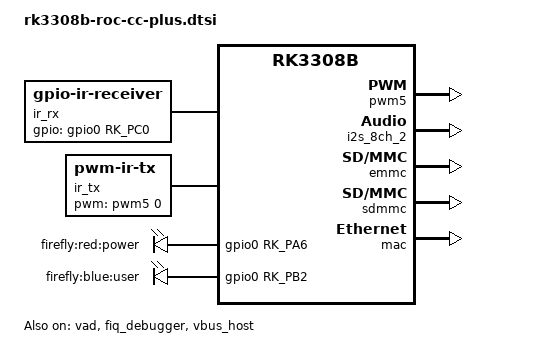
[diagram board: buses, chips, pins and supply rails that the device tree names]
// SPDX-License-Identifier: (GPL-2.0+ OR MIT)
/*
 * Copyright (c) 2018 Fuzhou Rockchip Electronics Co., Ltd
 */

#include "rk3308b-firefly.dtsi"

/ {
	pdm_i2s_dais: pdm-i2s-dais {
		status = "disabled";
		compatible = "rockchip,rk3308-multi-dais", "rockchip,multi-dais";
		dais = <&pdm_8ch>, <&i2s_8ch_2>;
		capture,channel-mapping = <6 2>;
		playback,channel-mapping = <0 2>;
		bitclock-inversion = <1 0>;
	};

	pdm-mic-array {
		status = "disabled";
		compatible = "simple-audio-card";
		simple-audio-card,name = "rockchip,pdm-mic-array";
		simple-audio-card,cpu {
			sound-dai = <&pdm_8ch>;
		};
		simple-audio-card,codec {
			sound-dai = <&dummy_codec>;
		};
	};

	vad-sound {
		status = "disabled";
		compatible = "rockchip,multicodecs-card";
		rockchip,card-name = "rockchip,rk3308-vad";
		rockchip,cpu = <&pdm_i2s_dais>;
		rockchip,codec = <&acodec>, <&vad>;
	};

    vad_acodec_sound: vad-acodec-sound {
        status = "okay";
        compatible = "rockchip,multicodecs-card";
        rockchip,card-name = "rockchip,rk3308b-acodec";
        rockchip,codec-hp-det;
        rockchip,mclk-fs = <256>;
        rockchip,cpu = <&i2s_8ch_2>;
        rockchip,codec = <&acodec>, <&vad>;
    };

	ir_rx {
        status = "okay";
        compatible = "gpio-ir-receiver";
        gpios = <&gpio0 RK_PC0 GPIO_ACTIVE_HIGH>;
        pinctrl-names = "default";
		pinctrl-0 = <&ir_recv_pin>;
    };

    ir_tx {
        status = "okay";
        compatible = "pwm-ir-tx";
        pwms = <&pwm5 0 25000 0>;
    };

    leds {
        status = "okay";
        compatible = "gpio-leds";
        power {
            label = "firefly:red:power"; 
            linux,default-trigger = "ir-power-click";
            default-state = "on";
            gpios = <&gpio0 RK_PA6 GPIO_ACTIVE_HIGH>;
        };

        user {
            label = "firefly:blue:user";
            linux,default-trigger = "ir-user-click";
            default-state = "off";
            gpios = <&gpio0 RK_PB2 GPIO_ACTIVE_HIGH>;
        };
    };

};

&acodec_sound {
    status = "disabled";
};

&acodec {
    rockchip,micbias1;
    rockchip,micbias2;
    rockchip,en-always-grps = <0 1 2 3>;
    rockchip,adc-grps-route = <1 3 0 2>;
    /delete-property/rockchip,loopback-grp;
    spk-ctl-gpios = <&gpio0 RK_PA5 GPIO_ACTIVE_HIGH>;
};

&pwm5 {
    status = "okay";
    pinctrl-names = "active";
    pinctrl-0 = <&pwm5_pin_pull_down>;
};

&bluetooth_sound {
    status = "disabled";
};

&i2s_2ch_0 {
    status = "disabled";
    #sound-dai-cells = <0>;
    rockchip,clk-trcm = <1>;
};

&pdm_8ch {
    status = "disabled";
    #sound-dai-cells = <0>;
    rockchip,no-dmaengine;
    pinctrl-names = "default";
    pinctrl-0 = <&pdm_m2_clk
		 &pdm_m2_clkm
		 &pdm_m2_sdi0
		 &pdm_m2_sdi1
		 &pdm_m2_sdi2
		 &pdm_m2_sdi3>;
};

&vad {
    status = "okay";
    rockchip,audio-src = <&i2s_8ch_2>;
    rockchip,det-channel = <3>;
    rockchip,mode = <1>;
    rockchip,buffer-time-ms = <200>;
    #sound-dai-cells = <0>;
};

&i2s_8ch_2 {
    status = "okay";
};

&pdm_i2s_dais {
    status = "disabled";
    #sound-dai-cells = <0>;
};

&emmc {
    status = "okay";
};

&nandc {
    status = "disabled";
};

&fiq_debugger {
    status = "okay";
    pinctrl-names = "default";
    pinctrl-0 = <&uart4_xfer>;
    rockchip,serial-id = <4>;
};

&uart4 {
    status = "disabled";
};

&sdmmc {
    status = "okay";
};

&vccio_sd {
    gpios = <&gpio0 RK_PA7 GPIO_ACTIVE_HIGH>;
};

&mac {
    status = "okay";
};

&vbus_host {
    status = "okay";
    enable-active-low;
};

&gpio_keys {
    status = "disabled";
};
